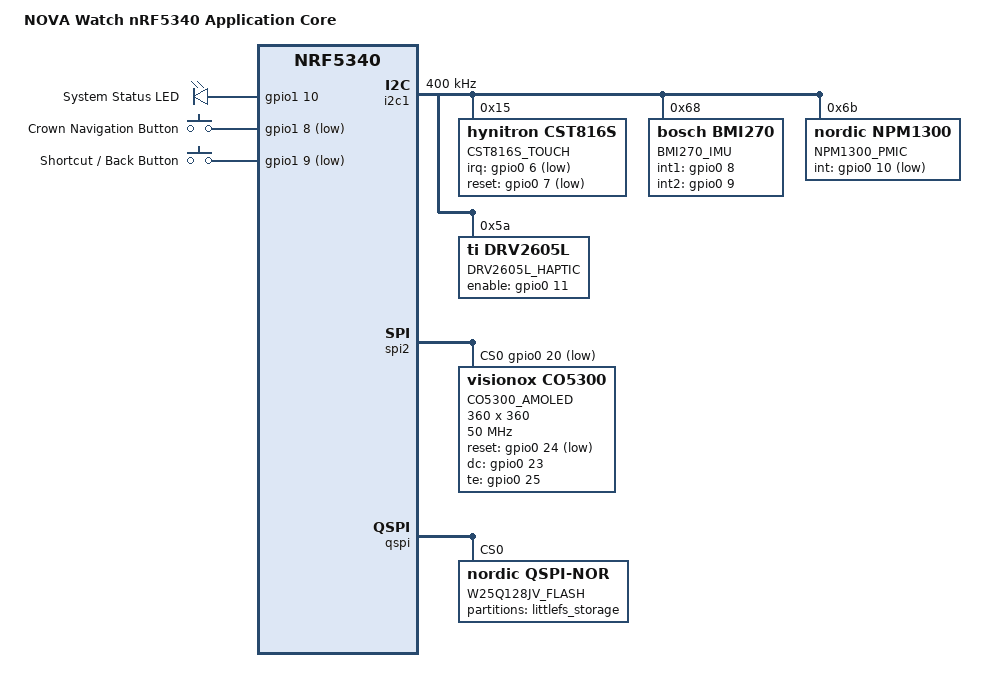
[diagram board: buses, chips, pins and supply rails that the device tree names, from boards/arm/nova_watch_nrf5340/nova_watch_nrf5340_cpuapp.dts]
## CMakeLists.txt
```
cmake_minimum_required(VERSION 3.20.0)

# Check if Zephyr environment is present
if(DEFINED ENV{ZEPHYR_BASE})
    find_package(Zephyr REQUIRED HINTS $ENV{ZEPHYR_BASE})
    project(nova_watch_os)

    target_include_directories(app PRIVATE include)
    target_sources(app PRIVATE
        src/main.c
        src/hal/hal_display_mock.c
        src/hal/hal_touch_mock.c
        src/hal/hal_sensor_mock.c
        src/hal/hal_power_mock.c
        src/hal/hal_storage_mock.c
        src/hal/hal_audio_mock.c
        src/hal/hal_haptic_mock.c
        src/hal/hal_ble_mock.c
        src/hal/hal_zephyr.c
        src/modules/boot_manager.c
        src/modules/diagnostics_manager.c
        src/modules/power_manager.c
        src/modules/hal_manager.c
    )
else()
    # Standalone Host Build & Test Harness
    project(nova_watch_os C)

    set(CMAKE_C_STANDARD 11)
    set(CMAKE_C_STANDARD_REQUIRED ON)

    # Enable all warnings
    if(MSVC)
        add_compile_options(/W4 /WX-)
    else()
        add_compile_options(-Wall -Wextra -Wno-unused-parameter)
    endif()

    include_directories(include)

    # Core Library
    add_library(nova_core STATIC
        src/hal/hal_display_mock.c
        src/hal/hal_touch_mock.c
        src/hal/hal_sensor_mock.c
        src/hal/hal_power_mock.c
        src/hal/hal_storage_mock.c
        src/hal/hal_audio_mock.c
        src/hal/hal_haptic_mock.c
        src/hal/hal_ble_mock.c
        src/hal/hal_zephyr.c
        src/modules/boot_manager.c
        src/modules/diagnostics_manager.c
        src/modules/power_manager.c
        src/modules/hal_manager.c
    )

    # Firmware Simulator Binary
    add_executable(nova_firmware_sim src/main.c)
    target_link_libraries(nova_firmware_sim PRIVATE nova_core)

    # Unit Tests
    enable_testing()
    add_subdirectory(tests)
endif()
```

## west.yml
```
manifest:
  remotes:
    - name: zephyrproject-rtos
      url-base: https://github.com/zephyrproject-rtos
    - name: nrfconnect
      url-base: https://github.com/nrfconnect
  projects:
    - name: zephyr
      remote: zephyrproject-rtos
      revision: v3.7.0
      import: true
    - name: nrf
      remote: nrfconnect
      revision: v2.7.0
      path: nrf
  self:
    path: application
```

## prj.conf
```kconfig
# NOVA WATCH OS - Zephyr RTOS Project Configuration

# General OS Configuration
CONFIG_MAIN_STACK_SIZE=4096
CONFIG_SYSTEM_WORKQUEUE_STACK_SIZE=2048
CONFIG_HEAP_MEM_POOL_SIZE=32768
CONFIG_LOG=y
CONFIG_LOG_MODE_DEFERRED=y
CONFIG_LOG_DEFAULT_LEVEL=3
CONFIG_PRINTK=y
CONFIG_ASSERT=y
CONFIG_REBOOT=y
CONFIG_HWINFO=y

# Power Management
CONFIG_PM=y
CONFIG_PM_DEVICE=y
CONFIG_PM_POLICY_DEFAULT=y

# Watchdog
CONFIG_WATCHDOG=y
CONFIG_WDT_DISABLE_AT_BOOT=n

# Bluetooth Low Energy
CONFIG_BT=y
CONFIG_BT_PERIPHERAL=y
CONFIG_BT_DEVICE_NAME="NOVA Watch"
CONFIG_BT_DEVICE_APPEARANCE=192
CONFIG_BT_SMP=y
CONFIG_BT_TINYCRYPT_ECC=y
CONFIG_BT_MAX_CONN=1
CONFIG_BT_LL_SW_SPLIT=y
CONFIG_BT_GATT_CLIENT=y
CONFIG_BT_L2CAP_TX_MTU=247
CONFIG_BT_BUF_ACL_RX_SIZE=251
CONFIG_BT_BUF_ACL_TX_SIZE=251

# Storage and File System
CONFIG_FLASH=y
CONFIG_FLASH_MAP=y
CONFIG_NVS=y
CONFIG_FILE_SYSTEM=y
CONFIG_FILE_SYSTEM_LITTLEFS=y

# Display and Graphics (LVGL)
CONFIG_DISPLAY=y
CONFIG_LVGL=y
CONFIG_LV_Z_MEM_POOL_SIZE=32768
CONFIG_LV_COLOR_DEPTH_16=y
CONFIG_LV_COLOR_16_SWAP=n

# Sensors and Input
CONFIG_SENSOR=y
CONFIG_INPUT=y

# MCUboot & Secure Boot
CONFIG_BOOTLOADER_MCUBOOT=y
CONFIG_MCUBOOT_SIGNATURE_KEY_FILE=""
CONFIG_IMG_MANAGER=y
CONFIG_MCUBOOT_IMG_MANAGER=y
CONFIG_STREAM_FLASH=y
CONFIG_DFU_TARGET_MCUBOOT=y
```

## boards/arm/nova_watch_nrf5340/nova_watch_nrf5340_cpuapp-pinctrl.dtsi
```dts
/* Pin Control Definitions for NOVA Watch nRF5340 */

&pinctrl {
    i2c1_default: i2c1_default {
        group1 {
            psels = <NRF_PSEL(TWIM_SDA, 0, 5)>,
                    <NRF_PSEL(TWIM_SCL, 0, 4)>;
        };
    };

    i2c1_sleep: i2c1_sleep {
        group1 {
            psels = <NRF_PSEL(TWIM_SDA, 0, 5)>,
                    <NRF_PSEL(TWIM_SCL, 0, 4)>;
            low-power-enable;
        };
    };

    spi2_default: spi2_default {
        group1 {
            psels = <NRF_PSEL(SPIM_SCK, 0, 21)>,
                    <NRF_PSEL(SPIM_MOSI, 0, 22)>;
        };
    };

    qspi_default: qspi_default {
        group1 {
            psels = <NRF_PSEL(QSPI_SCK, 0, 13)>,
                    <NRF_PSEL(QSPI_CSN, 0, 14)>,
                    <NRF_PSEL(QSPI_IO0, 0, 15)>,
                    <NRF_PSEL(QSPI_IO1, 0, 16)>,
                    <NRF_PSEL(QSPI_IO2, 0, 17)>,
                    <NRF_PSEL(QSPI_IO3, 0, 18)>;
        };
    };
};
```

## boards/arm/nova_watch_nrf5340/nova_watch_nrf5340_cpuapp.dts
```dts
/dts-v1/;
#include <nordic/nrf5340_cpuapp_qkaa.dtsi>
#include "nova_watch_nrf5340_cpuapp-pinctrl.dtsi"

/ {
    model = "NOVA Watch nRF5340 Application Core";
    compatible = "nordic,nova-watch-nrf5340-cpuapp";

    chosen {
        zephyr,sram = &sram0_image;
        zephyr,flash = &flash0;
        zephyr,code-partition = &slot0_partition;
        zephyr,console = &uart0;
        zephyr,shell-uart = &uart0;
        zephyr,display = &display0;
        zephyr,touch = &touch0;
        nordic,pm-ext-flash = &w25q128jv;
    };

    aliases {
        led0 = &led0;
        sw0 = &button0;
        sw1 = &button1;
        watchdog0 = &wdt0;
        cst816s = &touch0;
        bmi270 = &imu0;
        npm1300 = &pmic0;
        drv2605 = &haptic0;
    };

    leds {
        compatible = "gpio-leds";
        led0: led_0 {
            gpios = <&gpio1 10 GPIO_ACTIVE_HIGH>;
            label = "System Status LED";
        };
    };

    buttons {
        compatible = "gpio-keys";
        button0: button_0 {
            gpios = <&gpio1 8 (GPIO_PULL_UP | GPIO_ACTIVE_LOW)>;
            label = "Crown Navigation Button";
        };
        button1: button_1 {
            gpios = <&gpio1 9 (GPIO_PULL_UP | GPIO_ACTIVE_LOW)>;
            label = "Shortcut / Back Button";
        };
    };
};

&i2c1 {
    compatible = "nordic,nrf-twim";
    status = "okay";
    pinctrl-0 = <&i2c1_default>;
    pinctrl-1 = <&i2c1_sleep>;
    pinctrl-names = "default", "sleep";
    clock-frequency = <I2C_BITRATE_FAST>;

    touch0: cst816s@15 {
        compatible = "hynitron,cst816s";
        reg = <0x15>;
        irq-gpios = <&gpio0 6 (GPIO_PULL_UP | GPIO_ACTIVE_LOW)>;
        reset-gpios = <&gpio0 7 GPIO_ACTIVE_LOW>;
        label = "CST816S_TOUCH";
    };

    imu0: bmi270@68 {
        compatible = "bosch,bmi270";
        reg = <0x68>;
        int1-gpios = <&gpio0 8 GPIO_ACTIVE_HIGH>;
        int2-gpios = <&gpio0 9 GPIO_ACTIVE_HIGH>;
        label = "BMI270_IMU";
    };

    pmic0: npm1300@6b {
        compatible = "nordic,npm1300";
        reg = <0x6b>;
        int-gpios = <&gpio0 10 (GPIO_PULL_UP | GPIO_ACTIVE_LOW)>;
        label = "NPM1300_PMIC";
    };

    haptic0: drv2605l@5a {
        compatible = "ti,drv2605l";
        reg = <0x5a>;
        enable-gpios = <&gpio0 11 GPIO_ACTIVE_HIGH>;
        label = "DRV2605L_HAPTIC";
    };
};

&spi2 {
    compatible = "nordic,nrf-spim";
    status = "okay";
    pinctrl-0 = <&spi2_default>;
    pinctrl-names = "default";
    cs-gpios = <&gpio0 20 GPIO_ACTIVE_LOW>;

    display0: co5300@0 {
        compatible = "visionox,co5300";
        reg = <0>;
        spi-max-frequency = <50000000>;
        reset-gpios = <&gpio0 24 GPIO_ACTIVE_LOW>;
        dc-gpios = <&gpio0 23 GPIO_ACTIVE_HIGH>;
        te-gpios = <&gpio0 25 GPIO_ACTIVE_HIGH>;
        width = <360>;
        height = <360>;
        label = "CO5300_AMOLED";
    };
};

&qspi {
    status = "okay";
    pinctrl-0 = <&qspi_default>;
    pinctrl-names = "default";

    w25q128jv: w25q128jv@0 {
        compatible = "nordic,qspi-nor";
        reg = <0>;
        writeoc = "pp4io";
        readoc = "read4io";
        sck-frequency = <32000000>;
        jedec-id = [ef 40 18];
        size = <0x1000000>; // 16 MBytes
        label = "W25Q128JV_FLASH";

        partitions {
            compatible = "fixed-partitions";
            #address-cells = <1>;
            #size-cells = <1>;

            lfs_partition: partition@200000 {
                label = "littlefs_storage";
                reg = <0x00200000 0x00E00000>; // 14 MB LittleFS
            };
        };
    };
};

&flash0 {
    partitions {
        compatible = "fixed-partitions";
        #address-cells = <1>;
        #size-cells = <1>;

        boot_partition: partition@0 {
            label = "mcuboot";
            reg = <0x00000000 0x00010000>; // 64 KB
        };

        slot0_partition: partition@10000 {
            label = "image-0";
            reg = <0x00010000 0x0006C000>; // 432 KB
        };

        slot1_partition: partition@7C000 {
            label = "image-1";
            reg = <0x0007C000 0x00080000>; // 512 KB
        };

        storage_partition: partition@FC000 {
            label = "storage";
            reg = <0x000FC000 0x00004000>; // 16 KB NVS
        };
    };
};
```

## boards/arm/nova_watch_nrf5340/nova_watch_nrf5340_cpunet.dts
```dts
/dts-v1/;
#include <nordic/nrf5340_cpunet_qkaa.dtsi>

/ {
    model = "NOVA Watch nRF5340 Network Core";
    compatible = "nordic,nova-watch-nrf5340-cpunet";

    chosen {
        zephyr,sram = &sram1;
        zephyr,flash = &flash1;
        zephyr,code-partition = &slot0_partition;
        zephyr,bt-hci-ipc = &ipc0;
    };
};

&flash1 {
    partitions {
        compatible = "fixed-partitions";
        #address-cells = <1>;
        #size-cells = <1>;

        slot0_partition: partition@0 {
            label = "image-0";
            reg = <0x00000000 0x00040000>; // 256 KB
        };
    };
};
```

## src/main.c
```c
#include <stdio.h>
#include <stdbool.h>
#include "nova_config.h"
#include "nova_errors.h"
#include "modules/boot_manager.h"
#include "modules/diagnostics_manager.h"
#include "modules/power_manager.h"
#include "modules/hal_manager.h"

static void on_power_mode_change(nova_power_mode_t old_mode, nova_power_mode_t new_mode, void *user_data) {
    (void)user_data;
    printf("[POWER] Mode changed from %d to %d\n", old_mode, new_mode);
}

static void on_battery_alert(battery_alert_level_t level, uint8_t soc_pct, void *user_data) {
    (void)user_data;
    printf("[POWER ALERT] Level %d reached, Battery SoC = %u%%\n", level, soc_pct);
}

int main(void) {
    printf("========================================\n");
    printf("        NOVA WATCH OS - v%s         \n", NOVA_OS_VERSION_STRING);
    printf("   Target: %s (Dual-Core M33)  \n", NOVA_DEVICE_MODEL);
    printf("========================================\n");

    /* Step 1: Initialize Boot Manager */
    printf("[BOOT] Initializing Boot Manager...\n");
    nova_status_t status = boot_manager_init(RESET_REASON_POWER_ON);
    if (status != NOVA_SUCCESS && status != NOVA_ERROR_BOOT_SAFE_MODE) {
        printf("[BOOT ERROR] Failed to initialize boot manager: %s\n", nova_status_to_string(status));
        return 1;
    }

    /* Step 2: Initialize HAL Driver Subsystem */
    printf("[HAL] Initializing Hardware Abstraction Layer...\n");
    boot_manager_advance_stage(BOOT_STAGE_EARLY_HAL);
    status = hal_manager_init(HAL_DRIVER_MODE_MOCK);
    if (status != NOVA_SUCCESS) {
        printf("[HAL ERROR] Failed to initialize HAL manager: %s\n", nova_status_to_string(status));
        return 1;
    }

    /* Step 3: Initialize Diagnostics & Register Subsystems */
    printf("[DIAG] Initializing Diagnostics Manager...\n");
    boot_manager_advance_stage(BOOT_STAGE_DIAGNOSTIC);
    diagnostics_manager_init();

    status = hal_manager_init_all_drivers();
    if (status != NOVA_SUCCESS) {
        printf("[HAL ERROR] Failed to initialize all drivers: %s\n", nova_status_to_string(status));
        return 1;
    }

    /* Step 4: Run Built-In Self-Test (BIST) */
    printf("[BIST] Running Subsystem Built-In Self-Tests...\n");
    status = diagnostics_run_all_bist();
    if (status == NOVA_SUCCESS) {
        printf("[BIST SUCCESS] All core hardware subsystems passed self-test!\n");
    } else {
        printf("[BIST WARNING] Some subsystems degraded or failed: %s\n", nova_status_to_string(status));
    }

    /* Step 5: Initialize Power Manager */
    printf("[POWER] Initializing Power & Battery Manager...\n");
    boot_manager_advance_stage(BOOT_STAGE_SERVICES);
    status = power_manager_init(on_power_mode_change, on_battery_alert, NULL);
    if (status != NOVA_SUCCESS) {
        printf("[POWER ERROR] Failed to init power manager: %s\n", nova_status_to_string(status));
        return 1;
    }

    /* Step 6: Advance to Running State */
    boot_manager_record_successful_boot();
    printf("[BOOT SUCCESS] NOVA WATCH OS running in stage: %d\n", boot_manager_get_current_stage());

    /* Feed Watchdog */
    boot_manager_feed_watchdog();
    printf("[WATCHDOG] Heartbeat fed. System operational.\n");

    return 0;
}
```

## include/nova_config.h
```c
#ifndef NOVA_CONFIG_H
#define NOVA_CONFIG_H

#include <stdint.h>
#include <stdbool.h>

#ifdef __cplusplus
extern "C" {
#endif

/* System Firmware Metadata */
#define NOVA_OS_VERSION_MAJOR       1
#define NOVA_OS_VERSION_MINOR       0
#define NOVA_OS_VERSION_PATCH       0
#define NOVA_OS_VERSION_BUILD       101
#define NOVA_OS_VERSION_STRING      "NOVA OS 1.0.0"
#define NOVA_DEVICE_MODEL           "NOVA-WATCH-REV-A"

/* Display Hardware Parameters */
#define NOVA_DISPLAY_WIDTH          360
#define NOVA_DISPLAY_HEIGHT         360
#define NOVA_DISPLAY_IS_ROUND       1
#define NOVA_DISPLAY_COLOR_DEPTH    16      /* RGB565 */
#define NOVA_DISPLAY_FRAME_RATE     60      /* Target FPS */
#define NOVA_DISPLAY_BRIGHTNESS_MAX 100
#define NOVA_DISPLAY_BRIGHTNESS_DEF 70

/* Touch & Gesture Parameters */
#define NOVA_TOUCH_MAX_POINTS       2
#define NOVA_TOUCH_DEBOUNCE_MS      15
#define NOVA_SWIPE_THRESHOLD_PX     40
#define NOVA_LONG_PRESS_MS          600

/* Memory & Buffer Sizes */
#define NOVA_LVGL_BUFFER_LINES      40
#define NOVA_LVGL_BUFFER_BYTES      (NOVA_DISPLAY_WIDTH * NOVA_LVGL_BUFFER_LINES * (NOVA_DISPLAY_COLOR_DEPTH / 8))
#define NOVA_HEAP_SIZE_BYTES        (112 * 1024)
#define NOVA_SENSOR_FIFO_DEPTH      64
#define NOVA_AUDIO_SAMPLE_RATE_HZ   16000
#define NOVA_AUDIO_RING_BUFFER_BYTES 8192

/* Power & Battery Thresholds */
#define NOVA_BATTERY_CAPACITY_MAH   350
#define NOVA_BATTERY_VOLT_FULL_MV   4200
#define NOVA_BATTERY_VOLT_NOM_MV    3700
#define NOVA_BATTERY_VOLT_WARN_MV   3450    /* ~15% */
#define NOVA_BATTERY_VOLT_CRIT_MV   3300    /* ~5% */
#define NOVA_BATTERY_VOLT_CUTOFF_MV 3100    /* Forced shutdown */

#define NOVA_BATTERY_SOC_WARN       20
#define NOVA_BATTERY_SOC_CRIT       10
#define NOVA_BATTERY_SOC_SHUTDOWN   3

/* Storage & Partitions */
#define NOVA_FLASH_TOTAL_SIZE_MB    16
#define NOVA_LFS_BLOCK_SIZE         4096
#define NOVA_LFS_LOOKAHEAD_SIZE     256
#define NOVA_WATCH_FACES_MAX        16

/* Watchdog & Safety */
#define NOVA_WATCHDOG_TIMEOUT_MS    8000
#define NOVA_CRASH_LOOP_THRESHOLD   3
#define NOVA_BOOT_COUNT_MAGIC       0x4E4F5641 /* "NOVA" */

#ifdef __cplusplus
}
#endif

#endif /* NOVA_CONFIG_H */
```

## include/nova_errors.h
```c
#ifndef NOVA_ERRORS_H
#define NOVA_ERRORS_H

#ifdef __cplusplus
extern "C" {
#endif

typedef enum {
    NOVA_SUCCESS                    = 0,
    NOVA_ERROR_UNKNOWN             = -1,
    NOVA_ERROR_INVALID_PARAM       = -2,
    NOVA_ERROR_INVALID_STATE       = -3,
    NOVA_ERROR_NOT_INITIALIZED     = -4,
    NOVA_ERROR_ALREADY_INITIALIZED = -5,
    NOVA_ERROR_NO_MEMORY           = -6,
    NOVA_ERROR_TIMEOUT             = -7,
    NOVA_ERROR_BUSY                = -8,
    NOVA_ERROR_NOT_SUPPORTED       = -9,
    NOVA_ERROR_NOT_FOUND           = -10,
    NOVA_ERROR_BUFFER_OVERFLOW     = -11,
    NOVA_ERROR_IO                  = -12,
    NOVA_ERROR_CRC_MISMATCH        = -13,
    NOVA_ERROR_SIGNATURE_INVALID   = -14,
    NOVA_ERROR_PERMISSION_DENIED   = -15,

    /* Hardware Subsystem Errors (-100 .. -199) */
    NOVA_ERROR_HAL_DISPLAY_INIT    = -100,
    NOVA_ERROR_HAL_DISPLAY_TIMEOUT = -101,
    NOVA_ERROR_HAL_TOUCH_INIT      = -102,
    NOVA_ERROR_HAL_TOUCH_COMM      = -103,
    NOVA_ERROR_HAL_SENSOR_INIT     = -104,
    NOVA_ERROR_HAL_SENSOR_COMM     = -105,
    NOVA_ERROR_HAL_POWER_INIT      = -106,
    NOVA_ERROR_HAL_STORAGE_INIT    = -107,
    NOVA_ERROR_HAL_STORAGE_CORRUPT = -108,
    NOVA_ERROR_HAL_AUDIO_INIT      = -109,
    NOVA_ERROR_HAL_HAPTIC_INIT     = -110,
    NOVA_ERROR_HAL_BLE_INIT        = -111,

    /* System Module Errors (-200 .. -299) */
    NOVA_ERROR_BOOT_CRASH_LOOP     = -200,
    NOVA_ERROR_BOOT_SAFE_MODE      = -201,
    NOVA_ERROR_DIAG_SELFTEST_FAIL  = -202,
    NOVA_ERROR_POWER_CRITICAL_BAT  = -203,
    NOVA_ERROR_SECURITY_AUTH_FAIL  = -204,
    NOVA_ERROR_OTA_VERIFY_FAIL     = -205,
    NOVA_ERROR_OTA_SLOT_INVALID    = -206
} nova_status_t;

static inline const char* nova_status_to_string(nova_status_t status) {
    switch (status) {
        case NOVA_SUCCESS:                    return "NOVA_SUCCESS";
        case NOVA_ERROR_UNKNOWN:             return "NOVA_ERROR_UNKNOWN";
        case NOVA_ERROR_INVALID_PARAM:       return "NOVA_ERROR_INVALID_PARAM";
        case NOVA_ERROR_INVALID_STATE:       return "NOVA_ERROR_INVALID_STATE";
        case NOVA_ERROR_NOT_INITIALIZED:     return "NOVA_ERROR_NOT_INITIALIZED";
        case NOVA_ERROR_ALREADY_INITIALIZED: return "NOVA_ERROR_ALREADY_INITIALIZED";
        case NOVA_ERROR_NO_MEMORY:           return "NOVA_ERROR_NO_MEMORY";
        case NOVA_ERROR_TIMEOUT:             return "NOVA_ERROR_TIMEOUT";
        case NOVA_ERROR_BUSY:                return "NOVA_ERROR_BUSY";
        case NOVA_ERROR_NOT_SUPPORTED:       return "NOVA_ERROR_NOT_SUPPORTED";
        case NOVA_ERROR_NOT_FOUND:           return "NOVA_ERROR_NOT_FOUND";
        case NOVA_ERROR_BUFFER_OVERFLOW:     return "NOVA_ERROR_BUFFER_OVERFLOW";
        case NOVA_ERROR_IO:                  return "NOVA_ERROR_IO";
        case NOVA_ERROR_CRC_MISMATCH:        return "NOVA_ERROR_CRC_MISMATCH";
        case NOVA_ERROR_SIGNATURE_INVALID:   return "NOVA_ERROR_SIGNATURE_INVALID";
        case NOVA_ERROR_PERMISSION_DENIED:   return "NOVA_ERROR_PERMISSION_DENIED";
        case NOVA_ERROR_HAL_DISPLAY_INIT:    return "NOVA_ERROR_HAL_DISPLAY_INIT";
        case NOVA_ERROR_HAL_TOUCH_INIT:      return "NOVA_ERROR_HAL_TOUCH_INIT";
        case NOVA_ERROR_HAL_SENSOR_INIT:     return "NOVA_ERROR_HAL_SENSOR_INIT";
        case NOVA_ERROR_HAL_POWER_INIT:      return "NOVA_ERROR_HAL_POWER_INIT";
        case NOVA_ERROR_HAL_STORAGE_INIT:    return "NOVA_ERROR_HAL_STORAGE_INIT";
        case NOVA_ERROR_HAL_AUDIO_INIT:      return "NOVA_ERROR_HAL_AUDIO_INIT";
        case NOVA_ERROR_HAL_HAPTIC_INIT:     return "NOVA_ERROR_HAL_HAPTIC_INIT";
        case NOVA_ERROR_HAL_BLE_INIT:        return "NOVA_ERROR_HAL_BLE_INIT";
        case NOVA_ERROR_BOOT_CRASH_LOOP:     return "NOVA_ERROR_BOOT_CRASH_LOOP";
        case NOVA_ERROR_BOOT_SAFE_MODE:      return "NOVA_ERROR_BOOT_SAFE_MODE";
        case NOVA_ERROR_DIAG_SELFTEST_FAIL:  return "NOVA_ERROR_DIAG_SELFTEST_FAIL";
        case NOVA_ERROR_POWER_CRITICAL_BAT:  return "NOVA_ERROR_POWER_CRITICAL_BAT";
        case NOVA_ERROR_SECURITY_AUTH_FAIL:  return "NOVA_ERROR_SECURITY_AUTH_FAIL";
        case NOVA_ERROR_OTA_VERIFY_FAIL:     return "NOVA_ERROR_OTA_VERIFY_FAIL";
        default:                             return "NOVA_ERROR_CODE_UNKNOWN";
    }
}

#ifdef __cplusplus
}
#endif

#endif /* NOVA_ERRORS_H */
```
